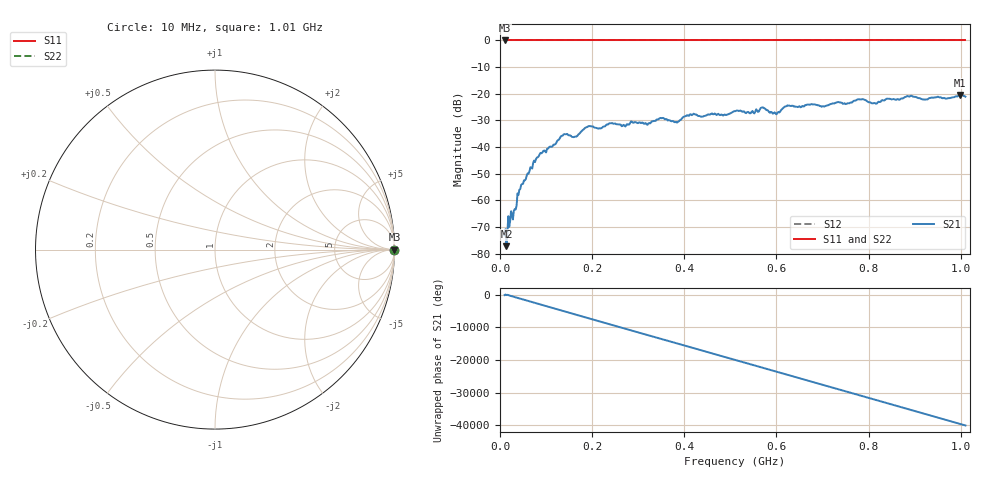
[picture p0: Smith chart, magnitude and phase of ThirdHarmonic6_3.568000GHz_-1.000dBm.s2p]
! 8/17/2025 11:49:09 AM
! C:\ANRITSUVNA\TEMP\TEMP.S2P
! CHANNEL.1
! TR.MEASUREMENT
! RAW.DATA
! RF.CORRECTION.OFF
! AVERAGING.OFF
! IF.BANDWIDTH: 5KHZ
! SWEEPTYPE:  FREQ.SWEEP(Linear)
! Reference Plane Port Info
! PORT:  PORT1  PORT2
! DISTANCE:  0  m  0  m
! TIME:  0  s  0  s
! PHASE.OFFSET:  0  deg.  0  deg.
! LOSS:  0  dB  0  dB
! REF.LOSS:  0  dB  0  dB
! REF.FREQ:  0  Hz  0  Hz
! Power Info
! POWER:  -20  dBm  -20  dBm
! EFF.POWER:  -20  dBm  -20  dBm
! SOURCE.ATTEN:  0  dB  0  dB
! TEST.ATTEN:  0  dB  0  dB
# GHZ S RI R 50.0
! FREQ.GHZ  S11RE  S11IM  S21RE  S21IM  S12RE  S12IM  S22RE  S22IM
!; PortSelection: Port_12
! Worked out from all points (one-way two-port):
!   501 points, 10 MHz to 1.01 GHz, reference 50 ohm
!   highest |S21| = -20.41 dB at 998 MHz (marker M1); lowest = -77.2 dB at 14 MHz (marker M2)
!   lowest |S11| = 0.0 dB at 10 MHz (marker M3)
!   |S11| at or under -10 dB: nowhere
!   |S22| runs from 0.0 to 0.0 dB; largest |S21 - S12| = 1.1
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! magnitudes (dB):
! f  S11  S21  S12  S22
! 10 MHz  0.0  -73.1  0.0  0.0
! 14 MHz  0.0  -77.2  0.0  0.0
! 18 MHz  0.0  -65.9  0.0  0.0
! 22 MHz  0.0  -67.8  0.0  0.0
! 32 MHz  0.0  -63.3  0.0  0.0
! 42 MHz  0.0  -56.0  0.0  0.0
! 76 MHz  0.0  -45.6  0.0  0.0
! 136 MHz  0.0  -35.7  0.0  0.0
! 162 MHz  0.0  -36.1  0.0  0.0
! 178 MHz  0.0  -33.8  0.0  0.0
! 344 MHz  0.0  -29.6  0.0  0.0
! 382 MHz  0.0  -30.5  0.0  0.0
! 416 MHz  0.0  -28.0  0.0  0.0
! 510 MHz  0.0  -26.5  0.0  0.0
! 570 MHz  0.0  -25.1  0.0  0.0
! 596 MHz  0.0  -27.0  0.0  0.0
! 622 MHz  0.0  -24.6  0.0  0.0
! 678 MHz  0.0  -23.9  0.0  0.0
! 814 MHz  0.0  -23.5  0.0  0.0
! 844 MHz  0.0  -21.9  0.0  0.0
! 998 MHz  0.0  -20.4  0.0  0.0
! 1.01 GHz  0.0  -21.1  0.0  0.0
